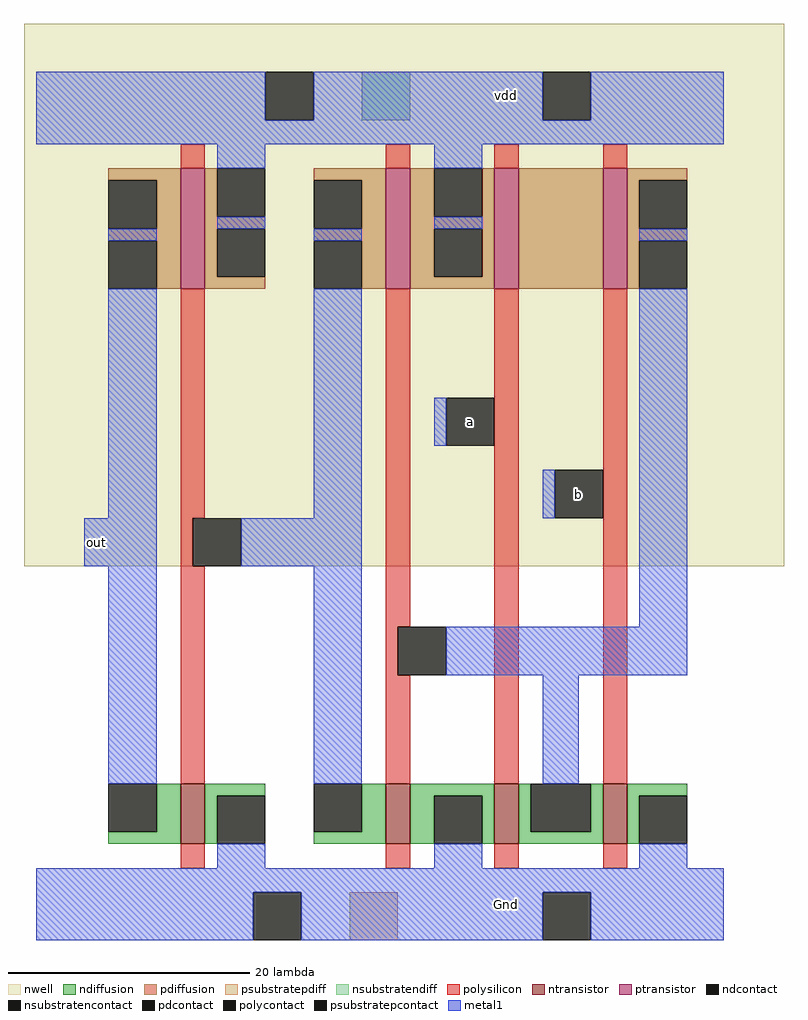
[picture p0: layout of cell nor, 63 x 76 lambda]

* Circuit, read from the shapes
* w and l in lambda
.subckt nor Gnd a b out vdd
M1 Gnd n1 out Gnd nfet w=5 l=2
M2 Gnd n2 n1 Gnd nfet w=5 l=2
M3 n2 a Gnd Gnd nfet w=5 l=2
M4 Gnd b n2 Gnd nfet w=5 l=2
M5 vdd n1 out vdd pfet w=10 l=2
M6 vdd n2 n1 vdd pfet w=10 l=2
M7 n3 a vdd vdd pfet w=10 l=2
M8 n2 b n3 vdd pfet w=10 l=2
.ends

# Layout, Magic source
magic
tech min2
<< nwell >>
rect -38 24 25 69
<< ntransistor >>
rect -25 1 -23 6
rect -8 1 -6 6
rect 1 1 3 6
rect 10 1 12 6
<< ptransistor >>
rect -25 47 -23 57
rect -8 47 -6 57
rect 1 47 3 57
rect 10 47 12 57
<< ndiffusion >>
rect -27 2 -25 6
rect -31 1 -25 2
rect -23 5 -18 6
rect -23 1 -22 5
rect -10 2 -8 6
rect -14 1 -8 2
rect -6 5 1 6
rect -6 1 -4 5
rect 0 1 1 5
rect 3 2 4 6
rect 9 2 10 6
rect 3 1 10 2
rect 12 5 17 6
rect 12 1 13 5
<< pdiffusion >>
rect -31 56 -25 57
rect -27 52 -25 56
rect -31 51 -25 52
rect -27 47 -25 51
rect -23 53 -22 57
rect -23 52 -18 53
rect -23 48 -22 52
rect -23 47 -18 48
rect -14 56 -8 57
rect -10 52 -8 56
rect -14 51 -8 52
rect -10 47 -8 51
rect -6 53 -4 57
rect 0 53 1 57
rect -6 52 1 53
rect -6 48 -4 52
rect 0 48 1 52
rect -6 47 1 48
rect 3 47 10 57
rect 12 56 17 57
rect 12 52 13 56
rect 12 51 17 52
rect 12 47 13 51
<< ndcontact >>
rect -31 2 -27 6
rect -22 1 -18 5
rect -14 2 -10 6
rect -4 1 0 5
rect 4 2 9 6
rect 13 1 17 5
<< pdcontact >>
rect -31 52 -27 56
rect -31 47 -27 51
rect -22 53 -18 57
rect -22 48 -18 52
rect -14 52 -10 56
rect -14 47 -10 51
rect -4 53 0 57
rect -4 48 0 52
rect 13 52 17 56
rect 13 47 17 51
<< psubstratepdiff >>
rect -11 -7 -7 -3
<< nsubstratendiff >>
rect -10 61 -6 65
<< psubstratepcontact >>
rect -19 -7 -15 -3
rect 5 -7 9 -3
<< nsubstratencontact >>
rect -18 61 -14 65
rect 5 61 9 65
<< polysilicon >>
rect -25 57 -23 59
rect -8 57 -6 59
rect 1 57 3 59
rect 10 57 12 59
rect -25 28 -23 47
rect -25 24 -24 28
rect -25 6 -23 24
rect -8 19 -6 47
rect -8 15 -7 19
rect -8 6 -6 15
rect 1 6 3 47
rect 10 6 12 47
rect -25 -1 -23 1
rect -8 -1 -6 1
rect 1 -1 3 1
rect 10 -1 12 1
<< polycontact >>
rect -24 24 -20 28
rect -3 34 1 38
rect -7 15 -3 19
rect 6 28 10 32
<< metal1 >>
rect -37 61 -18 65
rect -14 61 5 65
rect 9 61 20 65
rect -37 59 20 61
rect -22 57 -18 59
rect -31 51 -27 52
rect -4 57 0 59
rect -22 52 -18 53
rect -14 51 -10 52
rect -31 28 -27 47
rect -4 52 0 53
rect 13 51 17 52
rect -14 28 -10 47
rect -4 34 -3 38
rect 5 28 6 32
rect -33 24 -27 28
rect -20 24 -10 28
rect -31 6 -27 24
rect -14 6 -10 24
rect 13 19 17 47
rect -3 15 17 19
rect 5 6 8 15
rect -22 -1 -18 1
rect -4 -1 0 1
rect 13 -1 17 1
rect -37 -3 20 -1
rect -37 -7 -19 -3
rect -15 -7 5 -3
rect 9 -7 20 -3
<< labels >>
rlabel metal1 2 -4 2 -4 1 Gnd
rlabel metal1 2 63 2 63 5 vdd
rlabel polycontact -1 36 -1 36 1 a
rlabel polycontact 8 30 8 30 1 b
rlabel metal1 -32 26 -32 26 1 out
<< end >>
